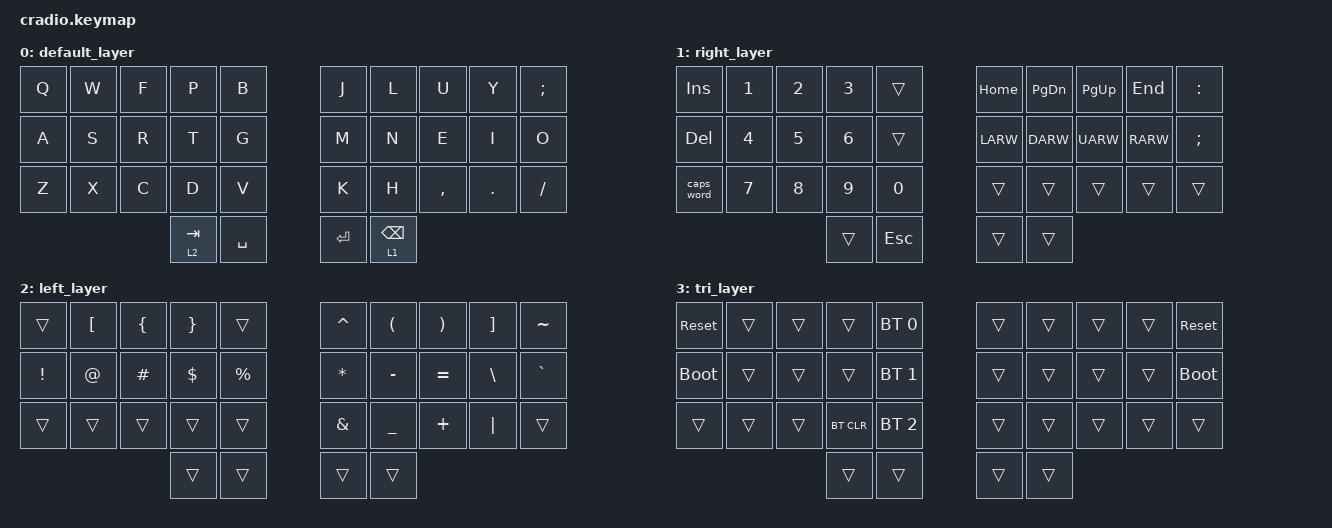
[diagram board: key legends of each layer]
// Copyright (c) 2022 The ZMK Contributors
// SPDX-License-Identifier: MIT

#include <behaviors.dtsi>
#include <dt-bindings/zmk/bt.h>
#include <dt-bindings/zmk/keys.h>

// Home row mods macro

#define HRML(k1,k2,k3,k4) &ht LSHFT k1  &ht LALT k2  &ht LCTRL k3  &ht LGUI k4
#define HRMR(k1,k2,k3,k4) &ht RGUI k1  &ht RCTRL k2  &ht RALT k3  &ht RSHFT k4

/ {
    keymap {
        compatible = "zmk,keymap";

        default_layer {
            bindings = <
&kp Q  &kp W  &kp F  &kp P      &kp B        &kp J      &kp L       &kp U      &kp Y    &kp SEMICOLON
&kp A  &kp S  &kp R  &kp T      &kp G        &kp M      &kp N       &kp E      &kp I    &kp O
&kp Z  &kp X  &kp C  &kp D      &kp V        &kp K      &kp H       &kp COMMA  &kp DOT  &kp FSLH
                     &lt 2 TAB  &kp SPACE    &kp ENTER  &lt 1 BSPC
            >;
        };

        right_layer {
            bindings = <
&kp INS     &kp N1  &kp N2  &kp N3  &trans     &kp HOME  &kp PG_DN  &kp PG_UP  &kp END   &kp COLON
&kp DEL     &kp N4  &kp N5  &kp N6  &trans     &kp LARW  &kp DARW   &kp UARW   &kp RARW  &kp SEMI
&caps_word  &kp N7  &kp N8  &kp N9  &kp N0     &trans    &trans     &trans     &trans    &trans
                            &trans  &kp ESC    &trans    &trans
            >;
        };

        left_layer {
            bindings = <
&trans    &kp LBKT  &kp LBRC  &kp RBRC  &trans       &kp CARET  &kp LPAR   &kp RPAR   &kp RBKT  &kp TILDE
&kp EXCL  &kp AT    &kp HASH  &kp DLLR  &kp PRCNT    &kp ASTRK  &kp MINUS  &kp EQUAL  &kp BSLH  &kp GRAVE
&trans    &trans    &trans    &trans    &trans       &kp AMPS   &kp UNDER  &kp PLUS   &kp PIPE  &trans
                              &trans    &trans       &trans     &trans
            >;
        };

        tri_layer {
            bindings = <
&sys_reset   &trans  &trans  &trans      &bt BT_SEL 0    &trans  &trans  &trans  &trans  &sys_reset
&bootloader  &trans  &trans  &trans      &bt BT_SEL 1    &trans  &trans  &trans  &trans  &bootloader
&trans       &trans  &trans  &bt BT_CLR  &bt BT_SEL 2    &trans  &trans  &trans  &trans  &trans
                             &trans      &trans          &trans  &trans
            >;
        };
    };
};
